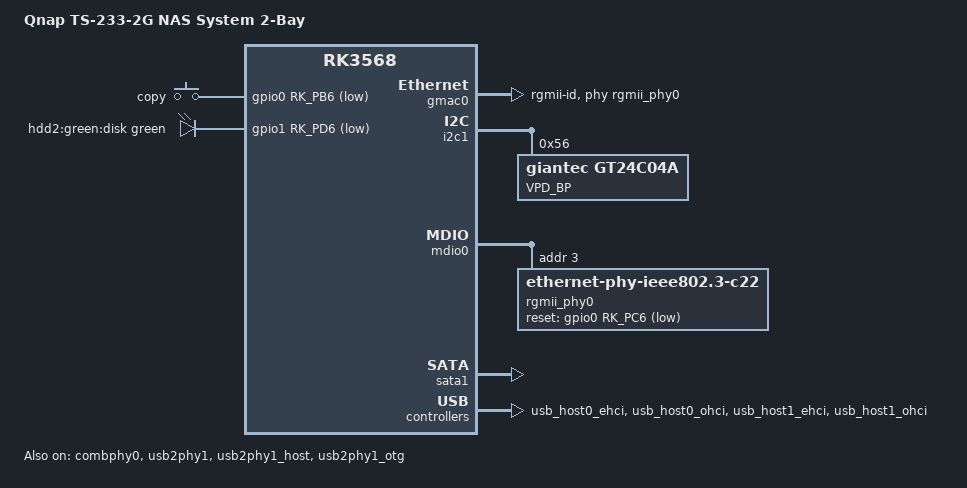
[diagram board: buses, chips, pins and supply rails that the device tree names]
// SPDX-License-Identifier: (GPL-2.0+ OR MIT)
/*
 * Copyright (c) 2021 Rockchip Electronics Co., Ltd.
 * Copyright (c) 2024 Heiko Stuebner <heiko@sntech.de>
 */

/dts-v1/;

#include "rk3568.dtsi"
#include "rk3568-qnap-tsx33.dtsi"

/ {
	model = "Qnap TS-233-2G NAS System 2-Bay";
	compatible = "qnap,ts233", "rockchip,rk3568";

	aliases {
		ethernet0 = &gmac0;
	};
};

/* Connected to usb_host0_xhci */
&combphy0 {
	status = "okay";
};

&gmac0 {
	assigned-clocks = <&cru SCLK_GMAC0_RX_TX>, <&cru SCLK_GMAC0>;
	assigned-clock-parents = <&cru SCLK_GMAC0_RGMII_SPEED>, <&cru CLK_MAC0_2TOP>;
	assigned-clock-rates = <0>, <125000000>;
	clock_in_out = "output";
	phy-handle = <&rgmii_phy0>;
	phy-mode = "rgmii-id";
	pinctrl-names = "default";
	pinctrl-0 = <&gmac0_miim
		     &gmac0_tx_bus2
		     &gmac0_rx_bus2
		     &gmac0_rgmii_clk
		     &gmac0_rgmii_bus>;
	status = "okay";
};

&i2c1 {
	/* eeprom for vital-product-data on the backplane */
	eeprom@56 {
		compatible = "giantec,gt24c04a", "atmel,24c04";
		reg = <0x56>;
		label = "VPD_BP";
		num-addresses = <2>;
		pagesize = <16>;
		read-only;
	};
};

&keys {
		pinctrl-names = "default";
		pinctrl-0 = <&copy_button_pin>, <&reset_button_pin>;

		key-copy {
			label = "copy";
			gpios = <&gpio0 RK_PB6 GPIO_ACTIVE_LOW>;
			linux,code = <KEY_COPY>;
		};
};

&leds {
	led-1 {
		color = <LED_COLOR_ID_GREEN>;
		function = LED_FUNCTION_DISK;
		gpios = <&gpio1 RK_PD6 GPIO_ACTIVE_LOW>;
		label = "hdd2:green:disk";
		linux,default-trigger = "disk-activity";
		pinctrl-names = "default";
		pinctrl-0 = <&hdd2_led_pin>;
	};
};

&mcu {
	compatible = "qnap,ts233-mcu";
};

&mdio0 {
	rgmii_phy0: ethernet-phy@3 {
		/* Motorcomm YT8521 phy */
		compatible = "ethernet-phy-ieee802.3-c22";
		reg = <0x3>;
		pinctrl-0 = <&eth_phy0_reset_pin>;
		pinctrl-names = "default";
		reset-assert-us = <10000>;
		reset-gpios = <&gpio0 RK_PC6 GPIO_ACTIVE_LOW>;
	};
};

&pinctrl {
	gmac0 {
		eth_phy0_reset_pin: eth-phy0-reset-pin {
			rockchip,pins = <0 RK_PC6 RK_FUNC_GPIO &pcfg_pull_up>;
		};
	};

	leds {
		hdd2_led_pin: hdd2-led-pin {
			rockchip,pins = <1 RK_PD6 RK_FUNC_GPIO &pcfg_pull_up>;
		};
	};
};

&sata1 {
	status = "okay";
};

&usb2phy1 {
	status = "okay";
};

/* connected to usb_host1_ehci/ohci */
&usb2phy1_host {
	phy-supply = <&vcc5v0_host>;
	status = "okay";
};

/* connected to usb_host0_ehci/ohci */
&usb2phy1_otg {
	phy-supply = <&vcc5v0_host>;
	status = "okay";
};

/* right port backside */
&usb_host0_ehci {
	status = "okay";
};

&usb_host0_ohci {
	status = "okay";
};

/* left port backside */
&usb_host1_ehci {
	status = "okay";
};

&usb_host1_ohci {
	status = "okay";
};
